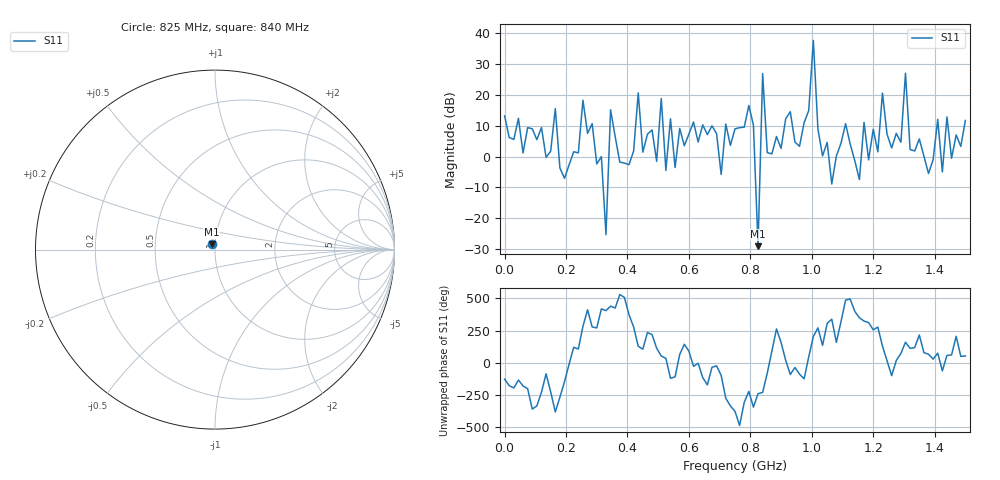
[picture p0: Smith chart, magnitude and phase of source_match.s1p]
! Created with skrf 1.8.0 (http://scikit-rf.org).
# Hz S RI R 50.0
!freq ReS11 ImS11
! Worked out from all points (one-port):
!   101 points, 50 kHz to 1.5 GHz, reference 50 ohm
!   lowest |S11| = -29.0 dB at 825 MHz (marker M1), VSWR 1.07, Z = 48.1 + j2.91 ohm
!   |S11| at or under -10 dB: 321 MHz to 335.7 MHz (14.75 MHz wide, 4.49 % of centre); 817.7 MHz to 830.1 MHz (12.39 MHz wide, 1.5 % of centre)
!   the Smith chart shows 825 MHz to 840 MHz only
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50000  -2.646 -3.681
1.950435e8  -0.365 -0.2532
2.40042e8  -0.3471 1.089
2.550415e8  1.757 -7.926
2.70041e8  1.483 1.845
3.750375e8  -0.7967 0.1542
4.20036e8  0.1734 -1.216
4.350355e8  -6.654 8.355
4.650345e8  -1.312 -1.885
5.10033e8  5.166 6.968
5.40032e8  -2.01 -3.548
5.70031e8  1.191 2.582
7.50025e8  2.703 -0.7428
8.250225e8  -0.0186 0.0302
8.40022e8  -14.4 16.45
8.550215e8  0.218 -1.138
9.450185e8  1.396 -1.003
9.90017e8  3.86 3.964
1.005016e9  -68.49 -30.97
1.020016e9  0.0531 -2.767
1.125012e9  -1.103 1.14
1.20001e9  -0.6618 -2.678
1.230009e9  -6.888 8.031
1.275008e9  2.24 0.7514
1.290007e9  0.4962 1.625
1.305006e9  -20.85 7.568
1.320006e9  -0.4853 1.204
1.5e9  2.238 3.095
